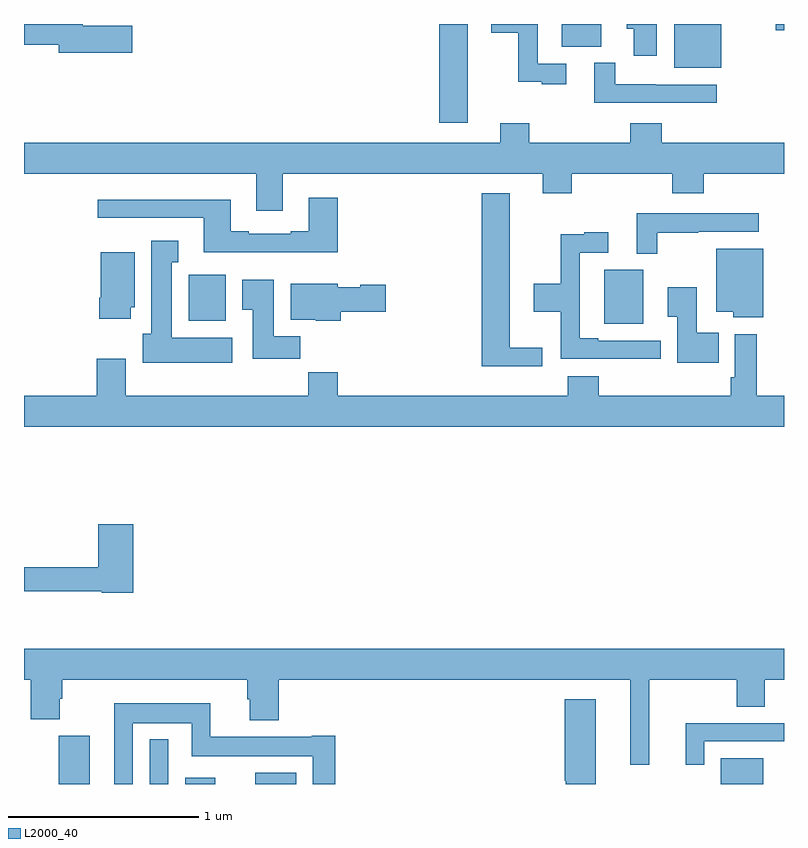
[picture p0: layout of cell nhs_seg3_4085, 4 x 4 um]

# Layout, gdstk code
import gdstk
lib = gdstk.Library(unit=1e-6, precision=1e-09)
def R(c, l, rs):  # rectangles x0, y0, x1, y1
    for r in rs: c.add(gdstk.rectangle(r[:2], r[2:], *l))
def P(c, l, *ps):  # polygons
    for p in ps: c.add(gdstk.Polygon(p, *l))
L2000_40 = (2000, 40)

nhs_seg3_4085 = lib.new_cell('nhs_seg3_4085')
R(nhs_seg3_4085, L2000_40, [(327.182,668.4,327.346,668.655), (327.663,668.4,327.759,668.635), (327.848,668.4,328.006,668.434), (328.217,668.4,328.432,668.458), (330.668,668.4,330.892,668.536), (330.053,670.823,330.259,671.107), (327.866,670.838,328.063,671.08), (329.186,671.88,329.335,672.4), (330.422,672.17,330.67,672.4), (329.831,672.281,330.037,672.4), (330.956,672.368,331,672.4)])
P(nhs_seg3_4085, L2000_40, [(329.854,672.192),(329.703,672.192),(329.703,672.4),(329.46,672.4),(329.46,672.355),(329.602,672.355),(329.602,672.095),(329.726,672.095),(329.726,672.084),(329.854,672.084)],
  [(330.331,672.4),(330.173,672.4),(330.173,672.376),(330.209,672.376),(330.209,672.234),(330.331,672.234)],
  [(327.571,672.392),(327.31,672.392),(327.31,672.4),(327,672.4),(327,672.292),(327.182,672.292),(327.182,672.25),(327.571,672.25)],
  [(330.646,672.081),(330.326,672.081),(330.326,672.082),(330.112,672.082),(330.112,672.196),(330.002,672.196),(330.002,671.985),(330.646,671.985)],
  [(328.363,671.612),(329.729,671.612),(329.729,671.51),(329.882,671.51),(329.882,671.612),(330.413,671.612),(330.413,671.51),(330.578,671.51),(330.578,671.612),(331,671.612),(331,671.776),(330.356,671.776),(330.356,671.878),(330.191,671.878),(330.191,671.776),(329.66,671.776),(329.66,671.878),(329.507,671.878),(329.507,671.776),(327,671.776),(327,671.612),(328.223,671.612),(328.223,671.418),(328.363,671.418)],
  [(329.728,670.697),(329.557,670.697),(329.557,671.509),(329.408,671.509),(329.408,670.598),(329.728,670.598)],
  [(328.652,671.485),(328.499,671.485),(328.499,671.308),(328.403,671.308),(328.403,671.295),(328.183,671.295),(328.183,671.308),(328.087,671.308),(328.087,671.476),(327.387,671.476),(327.387,671.379),(327.947,671.379),(327.947,671.198),(328.652,671.198)],
  [(330.334,671.302),(330.548,671.302),(330.548,671.307),(330.868,671.307),(330.868,671.403),(330.224,671.403),(330.224,671.192),(330.334,671.192)],
  [(330.352,670.734),(330.022,670.734),(330.022,670.747),(329.925,670.747),(329.925,671.196),(330.076,671.196),(330.076,671.305),(329.948,671.305),(329.948,671.294),(329.824,671.294),(329.824,671.034),(329.682,671.034),(329.682,670.886),(329.824,670.886),(329.824,670.638),(330.109,670.638),(330.109,670.637),(330.352,670.637)],
  [(328.096,670.75),(327.778,670.75),(327.778,671.147),(327.811,671.147),(327.811,671.26),(327.671,671.26),(327.671,670.77),(327.626,670.77),(327.626,670.616),(328.096,670.616)],
  [(330.892,671.218),(330.644,671.218),(330.644,670.886),(330.734,670.886),(330.734,670.856),(330.892,670.856)],
  [(327.562,670.908),(327.583,670.908),(327.583,671.2),(327.404,671.2),(327.404,670.96),(327.397,670.96),(327.397,670.848),(327.562,670.848)],
  [(328.454,670.756),(328.315,670.756),(328.315,671.053),(328.148,671.053),(328.148,670.897),(328.205,670.897),(328.205,670.638),(328.454,670.638)],
  [(328.667,670.885),(328.903,670.885),(328.903,671.027),(328.77,671.027),(328.77,671.014),(328.65,671.014),(328.65,671.032),(328.403,671.032),(328.403,670.844),(328.536,670.844),(328.536,670.838),(328.667,670.838)],
  [(330.656,670.774),(330.541,670.774),(330.541,671.014),(330.387,671.014),(330.387,670.858),(330.437,670.858),(330.437,670.616),(330.656,670.616)],
  [(331,670.444),(330.857,670.444),(330.857,670.768),(330.741,670.768),(330.741,670.54),(330.721,670.54),(330.721,670.444),(330.026,670.444),(330.026,670.546),(329.861,670.546),(329.861,670.444),(328.652,670.444),(328.652,670.568),(328.495,670.568),(328.495,670.444),(327.535,670.444),(327.535,670.639),(327.383,670.639),(327.383,670.444),(327,670.444),(327,670.28),(331,670.28)],
  [(327.575,669.766),(327.392,669.766),(327.392,669.542),(327,669.542),(327,669.414),(327.408,669.414),(327.408,669.406),(327.575,669.406)],
  [(330.29,668.948),(330.751,668.948),(330.751,668.806),(330.898,668.806),(330.898,668.948),(331,668.948),(331,669.112),(327,669.112),(327,668.948),(327.035,668.948),(327.035,668.74),(327.187,668.74),(327.187,668.849),(327.2,668.849),(327.2,668.948),(328.175,668.948),(328.175,668.847),(328.187,668.847),(328.187,668.735),(328.34,668.735),(328.34,668.948),(330.191,668.948),(330.191,668.502),(330.29,668.502)],
  [(330.01,668.845),(329.846,668.845),(329.846,668.418),(329.852,668.418),(329.852,668.4),(330.01,668.4)],
  [(327.573,668.72),(327.882,668.72),(327.882,668.546),(328.521,668.546),(328.521,668.4),(328.637,668.4),(328.637,668.653),(328.514,668.653),(328.514,668.65),(327.98,668.65),(327.98,668.824),(327.476,668.824),(327.476,668.4),(327.573,668.4)],
  [(330.579,668.625),(331,668.625),(331,668.721),(330.482,668.721),(330.482,668.502),(330.579,668.502)])

lib.write_gds('nhs_seg3_4085.gds')
